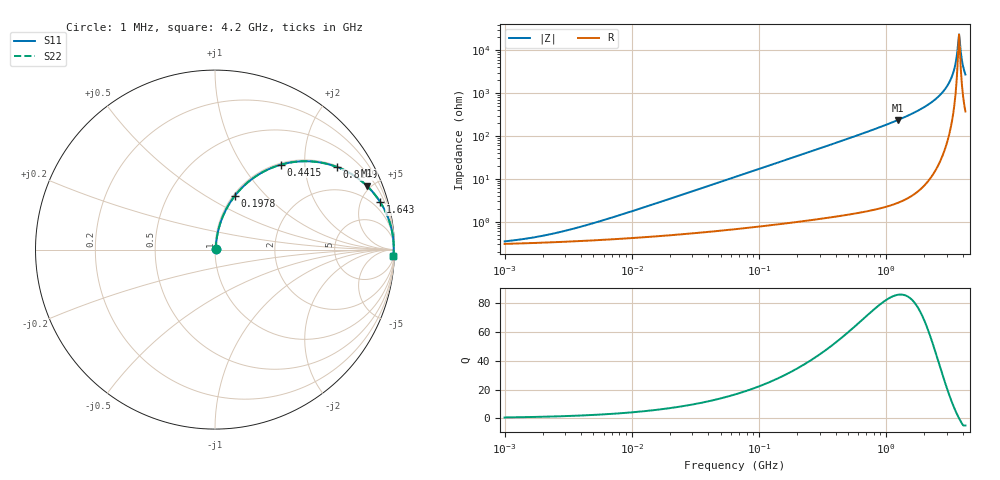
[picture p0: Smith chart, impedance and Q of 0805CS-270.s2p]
# MHz S MA R 50
!Freq  MagS11  AngS11  MagS21  AngS21  MagS12  AngS12  MagS22  AngS22
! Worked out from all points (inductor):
!   801 points, 1 MHz to 4.2 GHz, reference 50 ohm
!   read as one part in series: L = 27 nH near 6.813 MHz
!   highest Q = 85.9 at 1.24 GHz (marker M1), where L = 30.3 nH
!   self-resonance near 3.706 GHz
!   S11 on the Smith chart (normalised r, x): 1 MHz: 1.01, +0.00; 197.8 MHz: 1.02, +0.67; 441.5 MHz: 1.03, +1.52; 816.9 MHz: 1.04, +2.91; 1.643 GHz: 1.09, +6.91; 4.2 GHz: 8, -54
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1  0.003449 29.3  0.997 -0.1  0.997 -0.1  0.003449 29.3
1.96965  0.004627 45.8  0.9968 -0.2  0.9968 -0.2  0.004627 45.8
4.044774  0.007692 62.3  0.9965 -0.4  0.9965 -0.4  0.007692 62.3
16.19047  0.02771 79.0  0.9951 -1.6  0.9951 -1.6  0.02771 79.0
64.80741  0.1088 80.3  0.9875 -6.2  0.9875 -6.2  0.1088 80.3
197.8036  0.3163 69.9  0.9395 -18.4  0.9395 -18.4  0.3163 69.9
262.1313  0.4044 64.8  0.9047 -23.8  0.9047 -23.8  0.4044 64.8
441.542  0.5998 52.1  0.7894 -36.8  0.7894 -36.8  0.5998 52.1
816.9333  0.8192 34.3  0.5629 -55.0  0.5629 -55.0  0.8192 34.3
1049.262  0.8838 27.2  0.4574 -62.1  0.4574 -62.1  0.8838 27.2
1239.793  0.9171 22.8  0.3882 -66.5  0.3882 -66.5  0.9171 22.8
1642.986  0.9574 16.1  0.2773 -73.2  0.2773 -73.2  0.9574 16.1
2342.188  0.9856 8.7  0.1509 -80.2  0.1509 -80.2  0.9856 8.7
2946.193  0.9939 4.3  0.07568 -83.2  0.07568 -83.2  0.9939 4.3
3169.309  0.9951 3.0  0.05247 -83.2  0.05247 -83.2  0.9951 3.0
3338.95  0.9957 2.1  0.03606 -82.1  0.03606 -82.1  0.9957 2.1
3481.178  0.9959 1.3  0.02307 -79.1  0.02307 -79.1  0.9959 1.3
3629.463  0.9959 0.6  0.01047 -66.6  0.01047 -66.6  0.9959 0.6
3705.958  0.9958 0.2  0.005208 -36.4  0.005208 -36.4  0.9958 0.2
3823.735  0.9956 -0.4  0.007998 56.6  0.007998 56.6  0.9956 -0.4
4028.404  0.995 -1.3  0.02353 77.2  0.02353 77.2  0.995 -1.3
4200  0.9943 -2.1  0.03649 80.0  0.03649 80.0  0.9943 -2.1
